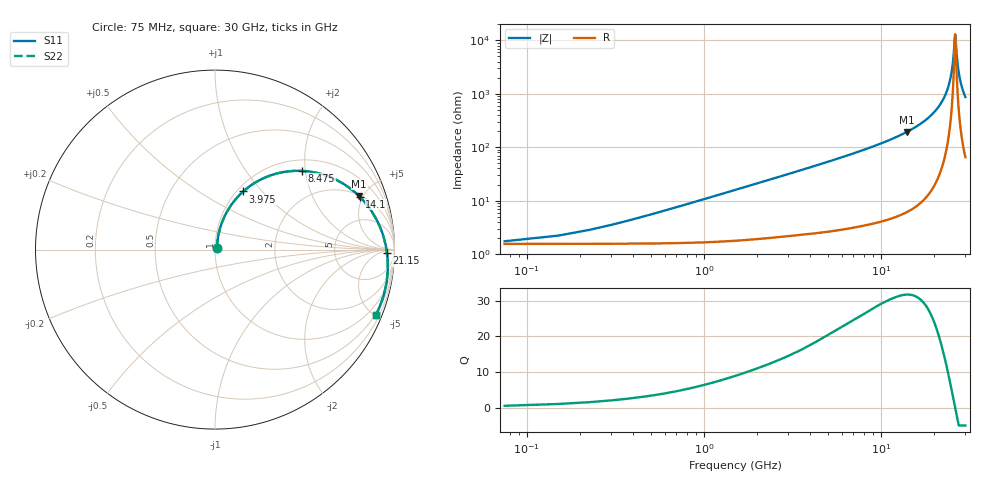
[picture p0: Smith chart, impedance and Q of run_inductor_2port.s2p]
#  Hz  S  RI  R  50
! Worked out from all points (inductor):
!   400 points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, 75 MHz to 30 GHz, reference 50 ohm
!   read as one part in series: L = 1.67 nH near 450 MHz
!   highest Q = 31.7 at 14.03 GHz (marker M1), where L = 2.2 nH
!   self-resonance near 26.25 GHz
!   S11 on the Smith chart (normalised r, x): 75 MHz: 1.02, +0.01; 3.975 GHz: 1.07, +0.79; 8.475 GHz: 1.25, +1.92; 14.1 GHz: 2.11, +4.73; 21.15 GHz: 40, -17; 30 GHz: 0.44, -5.11
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7.5e7  0.0113 0.00713  0.9806 -0.00819  0.9806 -0.00819  0.0113 0.00712
2.25e8  0.0117 0.0214  0.98 -0.0245  0.98 -0.0245  0.0117 0.0214
4.5e8  0.0133 0.0427  0.9781 -0.049  0.9781 -0.049  0.0134 0.0426
1.125e9  0.0245 0.1054  0.9649 -0.1203  0.9649 -0.1203  0.0245 0.1054
2.25e9  0.0622 0.2028  0.9225 -0.2284  0.9225 -0.2284  0.0622 0.2026
3.975e9  0.1571 0.3239  0.8248 -0.3619  0.8248 -0.3619  0.1571 0.3237
5.1e9  0.235 0.3799  0.7468 -0.427  0.7468 -0.427  0.235 0.3796
8.475e9  0.4862 0.4388  0.4928 -0.5151  0.4928 -0.5151  0.4863 0.4382
1.005e10  0.5939 0.4209  0.384 -0.5107  0.384 -0.5107  0.594 0.4201
1.4025e10  0.8031 0.2981  0.1705 -0.4225  0.1705 -0.4225  0.8031 0.2969
1.41e10  0.8061 0.2951  0.1674 -0.4202  0.1674 -0.4202  0.8062 0.2939
1.5075e10  0.8425 0.2549  0.1299 -0.3885  0.1299 -0.3885  0.8425 0.2536
2.0025e10  0.9493 0.033  0.016 -0.21  0.016 -0.21  0.9489 0.0311
2.115e10  0.9583 -0.0175  0.00519 -0.1695  0.00519 -0.1695  0.9577 -0.0196
2.355e10  0.9622 -0.1214  -0.00322 -0.0868  -0.00322 -0.0868  0.9614 -0.1237
2.505e10  0.9559 -0.183  0.000226 -0.0386  0.000226 -0.0386  0.9548 -0.1854
2.565e10  0.9516 -0.2068  0.00322 -0.0202  0.00322 -0.0202  0.9505 -0.2093
2.625e10  0.9464 -0.2301  0.00707 -0.00234  0.00707 -0.00234  0.9452 -0.2327
2.7e10  0.9387 -0.2584  0.013 0.0192  0.013 0.0192  0.9374 -0.261
2.76e10  0.9317 -0.2803  0.0185 0.0358  0.0185 0.0358  0.9303 -0.283
2.8575e10  0.9189 -0.3147  0.029 0.0616  0.029 0.0616  0.9174 -0.3174
3e10  0.8974 -0.3626  0.0473 0.0965  0.0473 0.0965  0.8956 -0.3654
